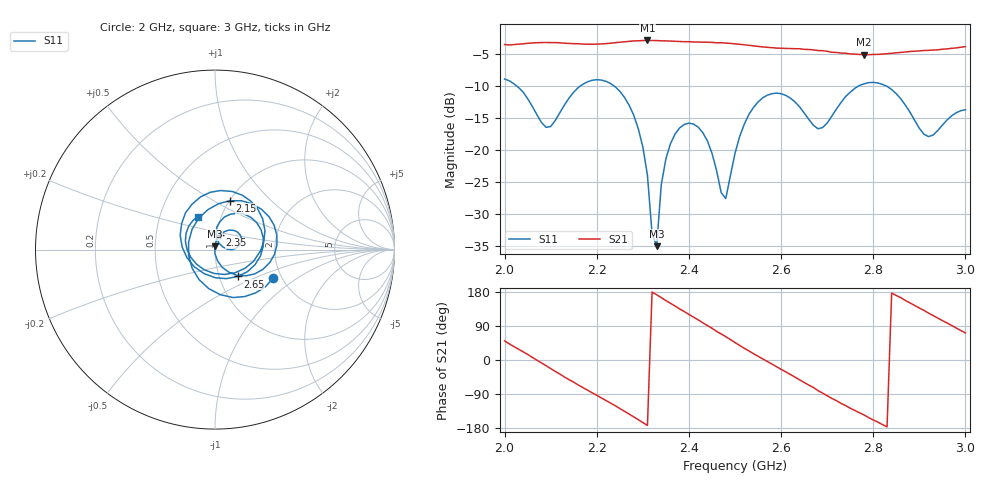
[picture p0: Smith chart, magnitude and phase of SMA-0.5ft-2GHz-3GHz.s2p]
# HZ S RI R 50
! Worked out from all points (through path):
!   101 points, 2 GHz to 3 GHz, reference 50 ohm
!   highest |S21| = -2.81 dB at 2.31 GHz (marker M1); lowest = -5.0 dB at 2.78 GHz (marker M2)
!   group delay of S21, straight-line fit = 1.96 ns
!   lowest |S11| = -35.1 dB at 2.33 GHz (marker M3), VSWR 1.04, Z = 49.8 + j1.75 ohm
!   |S11| at or under -10 dB: 2.027 GHz to 2.164 GHz (136.7 MHz wide, 6.52 % of centre); 2.238 GHz to 2.767 GHz (528.8 MHz wide, 21.1 % of centre); 2.83 GHz to end of sweep
!   S12 and S22 are empty: the file has one direction only
!   S11 on the Smith chart (normalised r, x): 2 GHz: 1.80, -0.66; 2.15 GHz: 1.00, +0.59; 2.35 GHz: 1.04, +0.17; 2.65 GHz: 1.22, -0.38; 3 GHz: 0.78, +0.30
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2e9  0.3234 -0.1591  0.4268 0.5186  0 0  0 0
2.04e9  0.1003 -0.2671  0.6313 0.2521  0 0  0 0
2.09e9  -0.1472 -0.0326  0.6735 -0.1803  0 0  0 0
2.15e9  0.0827 0.2722  0.3547 -0.5825  0 0  0 0
2.17e9  0.2075 0.2547  0.2 -0.647  0 0  0 0
2.26e9  0.2211 -0.1353  -0.5023 -0.4958  0 0  0 0
2.31e9  0.0136 -0.0619  -0.7173 -0.0926  0 0  0 0
2.32e9  -0.000218 -0.0221  -0.7229 0.00813  0 0  0 0
2.33e9  -0.00147 0.0176  -0.715 0.0997  0 0  0 0
2.34e9  0.00892 0.0527  -0.6932 0.1902  0 0  0 0
2.35e9  0.0281 0.0805  -0.6596 0.2822  0 0  0 0
2.41e9  0.1474 0.0621  -0.2759 0.6473  0 0  0 0
2.48e9  0.0232 0.0346  0.3294 0.6063  0 0  0 0
2.5e9  0.0059 0.094  0.4714 0.4903  0 0  0 0
2.56e9  0.1635 0.1976  0.643 0.034  0 0  0 0
2.65e9  0.1261 -0.1493  0.315 -0.5294  0 0  0 0
2.67e9  0.00213 -0.1568  0.1839 -0.5819  0 0  0 0
2.72e9  -0.1939 0.0796  -0.1728 -0.5558  0 0  0 0
2.78e9  0.0313 0.3291  -0.4587 -0.3202  0 0  0 0
2.84e9  0.2781 0.107  -0.573 0.0331  0 0  0 0
2.92e9  -0.0597 -0.1127  -0.3355 0.5032  0 0  0 0
3e9  -0.0954 0.1837  0.2059 0.6137  0 0  0 0
